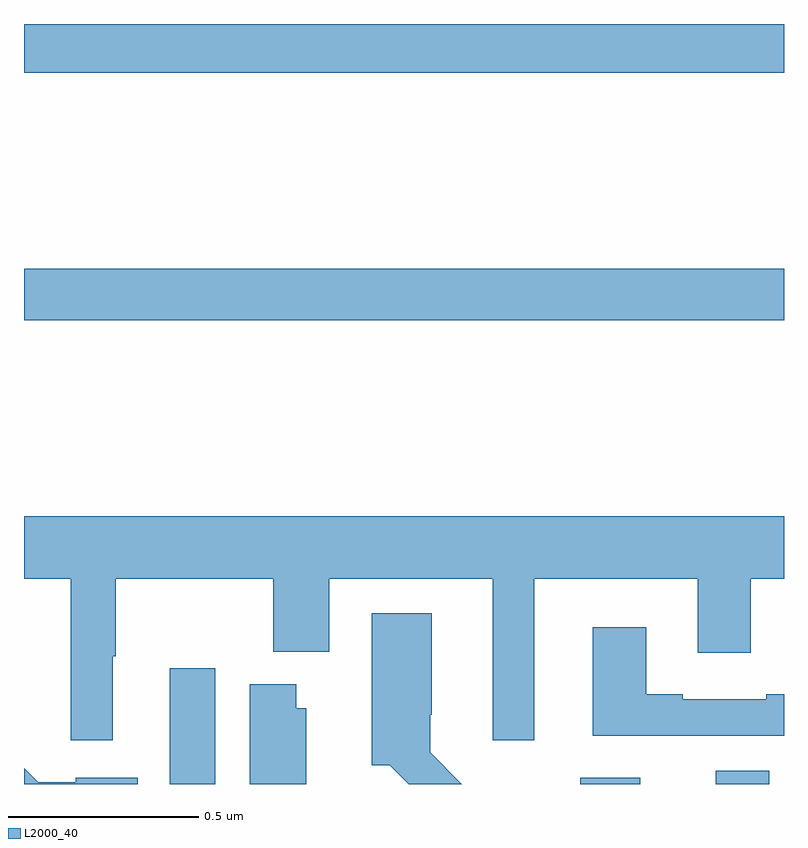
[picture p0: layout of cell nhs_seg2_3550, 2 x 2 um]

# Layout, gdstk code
import gdstk
lib = gdstk.Library(unit=1e-6, precision=1e-09)
def R(c, l, rs):  # rectangles x0, y0, x1, y1
    for r in rs: c.add(gdstk.rectangle(r[:2], r[2:], *l))
def P(c, l, *ps):  # polygons
    for p in ps: c.add(gdstk.Polygon(p, *l))
L2000_40 = (2000, 40)

nhs_seg2_3550 = lib.new_cell('nhs_seg2_3550')
R(nhs_seg2_3550, L2000_40, [(155.384,609.8,155.503,610.105), (156.464,609.8,156.622,609.817), (156.821,609.8,156.961,609.835), (155,611.02,157,611.156), (155,611.672,157,611.8)])
P(nhs_seg2_3550, L2000_40, [(155.233,610.136),(155.241,610.136),(155.241,610.34),(155.656,610.34),(155.656,610.148),(155.803,610.148),(155.803,610.34),(156.233,610.34),(156.233,609.915),(156.343,609.915),(156.343,610.34),(156.773,610.34),(156.773,610.146),(156.913,610.146),(156.913,610.34),(157,610.34),(157,610.504),(155,610.504),(155,610.34),(155.123,610.34),(155.123,609.915),(155.233,609.915)],
  [(156.069,609.883),(156.069,609.982),(156.073,609.982),(156.073,610.249),(155.915,610.249),(155.915,609.85),(155.963,609.85),(156.013,609.8),(156.152,609.8)],
  [(157,610.036),(156.953,610.036),(156.953,610.023),(156.733,610.023),(156.733,610.036),(156.637,610.036),(156.637,610.213),(156.497,610.213),(156.497,609.927),(157,609.927)],
  [(155.743,609.999),(155.716,609.999),(155.716,610.063),(155.594,610.063),(155.594,609.8),(155.743,609.8)],
  [(155.299,609.817),(155.136,609.817),(155.136,609.805),(155.037,609.805),(155,609.842),(155,609.8),(155.299,609.8)])

lib.write_gds('nhs_seg2_3550.gds')
